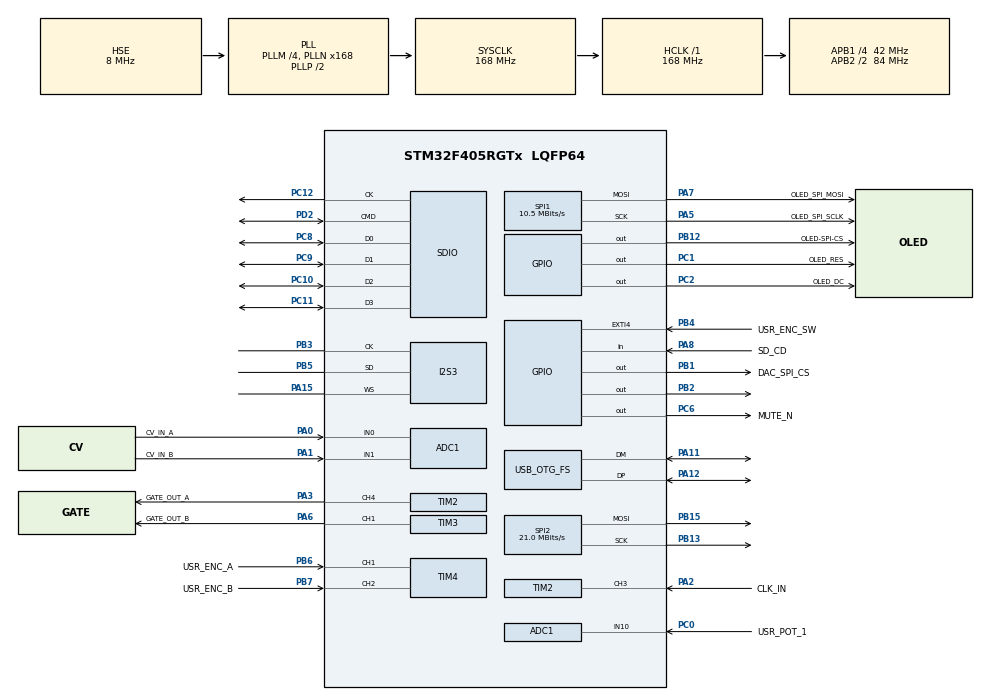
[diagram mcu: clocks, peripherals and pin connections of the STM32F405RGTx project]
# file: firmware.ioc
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ADC1.Channel-0\#ChannelRegularConversion=ADC_CHANNEL_0
ADC1.Channel-1\#ChannelRegularConversion=ADC_CHANNEL_1
ADC1.Channel-2\#ChannelRegularConversion=ADC_CHANNEL_10
ADC1.DMAContinuousRequests=ENABLE
ADC1.EOCSelection=ADC_EOC_SEQ_CONV
ADC1.ExternalTrigConv=ADC_EXTERNALTRIGCONV_T8_TRGO
ADC1.ExternalTrigConvEdge=ADC_EXTERNALTRIGCONVEDGE_RISING
ADC1.NbrOfConversion=3
ADC1.NbrOfConversionFlag=1
ADC1.Rank-0\#ChannelRegularConversion=1
ADC1.Rank-1\#ChannelRegularConversion=2
ADC1.Rank-2\#ChannelRegularConversion=3
ADC1.SamplingTime-0\#ChannelRegularConversion=ADC_SAMPLETIME_56CYCLES
ADC1.SamplingTime-1\#ChannelRegularConversion=ADC_SAMPLETIME_56CYCLES
ADC1.SamplingTime-2\#ChannelRegularConversion=ADC_SAMPLETIME_56CYCLES
ADC1.master=1
I2S3.AudioFreq=I2S_AUDIOFREQ_192K
I2S3.CPOL=I2S_CPOL_LOW
I2S3.DataFormat=I2S_DATAFORMAT_32B
I2S3.ErrorAudioFreq=-2.34 %
I2S3.FullDuplexMode=I2S_FULLDUPLEXMODE_DISABLE
I2S3.Instance=SPI$Index
I2S3.RealAudioFreq=187.5 KHz
I2S3.VirtualMode=I2S_MODE_MASTER
Mcu.Family=STM32F4
Mcu.Name=STM32F405RGTx
Mcu.Package=LQFP64
NVIC.EXTI4_IRQn=true\:0\:0\:false\:false\:true\:true\:true\:true
NVIC.OTG_FS_IRQn=true\:0\:0\:false\:false\:true\:false\:true\:true
NVIC.PriorityGroup=NVIC_PRIORITYGROUP_4
PA0-WKUP.GPIO_Label=CV_IN_A
PA0-WKUP.Signal=ADCx_IN0
PA1.GPIO_Label=CV_IN_B
PA1.Signal=ADCx_IN1
PA11.Mode=Device_Only
PA11.Signal=USB_OTG_FS_DM
PA12.Mode=Device_Only
PA12.Signal=USB_OTG_FS_DP
PA15.Mode=Half_Duplex_Master
PA15.Signal=I2S3_WS
PA2.GPIO_Label=CLK_IN
PA2.Signal=S_TIM2_CH3
PA3.GPIO_Label=GATE_OUT_A
PA3.Signal=S_TIM2_CH4
PA5.GPIO_Label=OLED_SPI_SCLK
PA5.Mode=TX_Only_Simplex_Unidirect_Master
PA5.Signal=SPI1_SCK
PA6.GPIO_Label=GATE_OUT_B
PA6.Signal=S_TIM3_CH1
PA7.GPIO_Label=OLED_SPI_MOSI
PA7.Mode=TX_Only_Simplex_Unidirect_Master
PA7.Signal=SPI1_MOSI
PA8.GPIO_Label=SD_CD
PA8.GPIO_PuPd=GPIO_PULLUP
PA8.Signal=GPIO_Input
PB1.GPIO_Label=DAC_SPI_CS
PB1.PinState=GPIO_PIN_SET
PB1.Signal=GPIO_Output
PB12.GPIO_Label=OLED-SPI-CS
PB12.GPIO_Speed=GPIO_SPEED_FREQ_HIGH
PB12.PinState=GPIO_PIN_SET
PB12.Signal=GPIO_Output
PB13.Mode=TX_Only_Simplex_Unidirect_Master
PB13.Signal=SPI2_SCK
PB15.Mode=TX_Only_Simplex_Unidirect_Master
PB15.Signal=SPI2_MOSI
PB2.Signal=GPIO_Output
PB3.GPIO_Speed=GPIO_SPEED_FREQ_VERY_HIGH
PB3.Mode=Half_Duplex_Master
PB3.Signal=I2S3_CK
PB4.GPIO_Label=USR_ENC_SW
PB4.GPIO_ModeDefaultEXTI=GPIO_MODE_IT_FALLING
PB4.GPIO_PuPd=GPIO_PULLUP
PB4.Signal=GPXTI4
PB5.GPIO_Speed=GPIO_SPEED_FREQ_VERY_HIGH
PB5.Mode=Half_Duplex_Master
PB5.Signal=I2S3_SD
PB6.GPIO_Label=USR_ENC_A
PB6.GPIO_PuPd=GPIO_PULLUP
PB6.Signal=S_TIM4_CH1
PB7.GPIO_Label=USR_ENC_B
PB7.GPIO_PuPd=GPIO_PULLUP
PB7.Signal=S_TIM4_CH2
PC0.GPIO_Label=USR_POT_1
PC0.Signal=ADCx_IN10
PC1.GPIO_Label=OLED_RES
PC1.GPIO_PuPd=GPIO_NOPULL
PC1.GPIO_Speed=GPIO_SPEED_FREQ_HIGH
PC1.PinState=GPIO_PIN_SET
PC1.Signal=GPIO_Output
PC10.Mode=SD_4_bits_Wide_bus
PC10.Signal=SDIO_D2
PC11.Mode=SD_4_bits_Wide_bus
PC11.Signal=SDIO_D3
PC12.Mode=SD_4_bits_Wide_bus
PC12.Signal=SDIO_CK
PC2.GPIO_Label=OLED_DC
PC2.GPIO_Speed=GPIO_SPEED_FREQ_HIGH
PC2.PinState=GPIO_PIN_SET
PC2.Signal=GPIO_Output
PC6.GPIO_Label=MUTE_N
PC6.PinState=GPIO_PIN_SET
PC6.Signal=GPIO_Output
PC8.Mode=SD_4_bits_Wide_bus
PC8.Signal=SDIO_D0
PC9.Mode=SD_4_bits_Wide_bus
PC9.Signal=SDIO_D1
PD2.Mode=SD_4_bits_Wide_bus
PD2.Signal=SDIO_CMD
PH0-OSC_IN.Mode=HSE-External-Oscillator
PH0-OSC_IN.Signal=RCC_OSC_IN
PH1-OSC_OUT.Mode=HSE-External-Oscillator
PH1-OSC_OUT.Signal=RCC_OSC_OUT
ProjectManager.HeapSize=0x200
ProjectManager.StackSize=0x400
ProjectManager.TargetToolchain=CMake
RCC.48MHZClocksFreq_Value=48000000
RCC.AHBFreq_Value=168000000
RCC.APB1CLKDivider=RCC_HCLK_DIV4
RCC.APB1Freq_Value=42000000
RCC.APB1TimFreq_Value=84000000
RCC.APB2CLKDivider=RCC_HCLK_DIV2
RCC.APB2Freq_Value=84000000
RCC.APB2TimFreq_Value=168000000
RCC.CortexFreq_Value=168000000
RCC.HCLKFreq_Value=168000000
RCC.HSE_VALUE=8000000
RCC.HSI_VALUE=16000000
RCC.LSE_VALUE=32768
RCC.PLLM=4
RCC.PLLN=168
RCC.PLLQ=7
RCC.SYSCLKFreq_VALUE=168000000
RCC.SYSCLKSource=RCC_SYSCLKSOURCE_PLLCLK
RCC.VCOOutputFreq_Value=336000000
SH.ADCx_IN0.0=ADC1_IN0,IN0
SH.ADCx_IN1.0=ADC1_IN1,IN1
SH.ADCx_IN10.0=ADC1_IN10,IN10
SH.S_TIM2_CH3.0=TIM2_CH3,Input_Capture3_from_TI3
SH.S_TIM2_CH4.0=TIM2_CH4,Output Compare4 CH4
SH.S_TIM3_CH1.0=TIM3_CH1,PWM Generation1 CH1
SH.S_TIM4_CH1.0=TIM4_CH1,Encoder_Interface
SH.S_TIM4_CH2.0=TIM4_CH2,Encoder_Interface
SPI1.BaudRatePrescaler=SPI_BAUDRATEPRESCALER_8
SPI1.CalculateBaudRate=10.5 MBits/s
SPI1.Direction=SPI_DIRECTION_2LINES
SPI1.Mode=SPI_MODE_MASTER
SPI1.VirtualType=VM_MASTER
SPI2.CLKPhase=SPI_PHASE_2EDGE
SPI2.CalculateBaudRate=21.0 MBits/s
SPI2.Direction=SPI_DIRECTION_2LINES
SPI2.Mode=SPI_MODE_MASTER
SPI2.VirtualType=VM_MASTER
TIM2.Channel-Input_Capture3_from_TI3=TIM_CHANNEL_3
TIM2.Channel-Output\ Compare4\ CH4=TIM_CHANNEL_4
TIM3.Channel-PWM\ Generation1\ CH1=TIM_CHANNEL_1
TIM4.EncoderMode=TIM_ENCODERMODE_TI12
TIM4.IC1Filter=4
TIM4.IC2Filter=4
USB_DEVICE.CLASS_NAME_FS=CDC
USB_DEVICE.VirtualMode-CDC_FS=Cdc
USB_DEVICE.VirtualModeFS=Cdc_FS
USB_OTG_FS.VirtualMode=Device_Only
VP_USB_DEVICE_VS_USB_DEVICE_CDC_FS.Mode=CDC_FS
board=custom

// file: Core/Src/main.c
/* USER CODE BEGIN Header */
/**
  ******************************************************************************
  * @file           : main.c
  * @brief          : Main program body
  ******************************************************************************
  * @attention
  *
  * Copyright (c) 2026 STMicroelectronics.
  * All rights reserved.
  *
  * This software is licensed under terms that can be found in the LICENSE file
  * in the root directory of this software component.
  * If no LICENSE file comes with this software, it is provided AS-IS.
  *
  ******************************************************************************
  */
/* USER CODE END Header */
#include "main.h"
#include "usb_device.h"

/* USER CODE BEGIN Includes */
#include <stdio.h>
#include <math.h>
#include "usbd_cdc_if.h"
#include "DEV_Config.h"
#include "OLED_1in5.h"
#include "GUI_Paint.h"
#include "encoder.h"
#include "app.h"
#include "boot.h"
#include "audio.h"
#include "cv_out.h"
#include "gate_out.h"
#include "analog_in.h"
#include "clock_in.h"
#include "sd_fs.h"
#include "wt_osc.h"
/* USER CODE END Includes */

ADC_HandleTypeDef hadc1;

I2S_HandleTypeDef hi2s3;
DMA_HandleTypeDef hdma_spi3_tx;

SD_HandleTypeDef hsd;

SPI_HandleTypeDef hspi1;
SPI_HandleTypeDef hspi2;

TIM_HandleTypeDef htim2;
TIM_HandleTypeDef htim3;
TIM_HandleTypeDef htim4;

/* USER CODE BEGIN PV */
DMA_HandleTypeDef hdma_spi1_tx;   /* OLED frame blit: SPI1 TX on DMA2 Stream3 */
/* USER CODE END PV */

void SystemClock_Config(void);
static void MX_GPIO_Init(void);
static void MX_DMA_Init(void);
static void MX_SPI1_Init(void);
static void MX_TIM4_Init(void);
static void MX_I2S3_Init(void);
static void MX_SDIO_SD_Init(void);
static void MX_ADC1_Init(void);
static void MX_SPI2_Init(void);
static void MX_TIM2_Init(void);
static void MX_TIM3_Init(void);

/* USER CODE BEGIN 0 */
extern USBD_HandleTypeDef hUsbDeviceFS;

int _write(int file, char *ptr, int len)
{
    (void)file;
#if USB_SERIAL_DEBUG
    /* USB is the CDC console. No host connected? Drop the output — without this
     * the module would stall ~20 ms per printf when run standalone (CDC reports
     * busy / NULL handle until enumerated). printf becomes a harmless no-op. */
    if (hUsbDeviceFS.dev_state != USBD_STATE_CONFIGURED)
        return len;
    /* CDC_Transmit_FS drops the buffer (returns USBD_BUSY) while a previous
     * packet is still in flight, so back-to-back printf lines would be lost.
     * Wait briefly for the IN endpoint to free up; bound the wait so we never
     * block long even if the host stops draining the port. */
    uint32_t start = HAL_GetTick();
    while (CDC_Transmit_FS((uint8_t*)ptr, (uint16_t)len) == USBD_BUSY) {
        if ((HAL_GetTick() - start) >= 20U) break;
    }
#else
    /* USB is the MIDI device — route printf to SWO/ITM (debugger trace). Harmless
     * (the byte is dropped) when no SWV probe is attached. See usb-midi.md §3. */
    for (int i = 0; i < len; i++)
        (void)ITM_SendChar((uint32_t)(uint8_t)ptr[i]);
#endif /* USB_SERIAL_DEBUG */
    return len;
}
/* ---- timing diagnostics --------------------------------------------------
 * Measures, over a 2 s window: main-loop pass count + worst gap between passes
 * (DWT cycle counter, µs), worst render+blit duration, and arp inter-step
 * intervals (ms). One 'diag:' line per window so the printf itself (which can
 * stall ~20 ms per line when the CDC port isn't being drained) doesn't skew
 * what it measures — though such a stall WILL show up in the next window's
 * loop max. */
#define DIAG_PERIOD_MS 2000u

static struct {
  uint32_t loop_n, loop_max_cyc, last_cyc;
  uint8_t  have_last;
  uint32_t rend_n, rend_max_cyc, disp_max_cyc;
  uint32_t arp_n, arp_last_ms, arp_min_ms, arp_max_ms;
  uint32_t next_report;
  uint32_t adc_last;
} s_diag = { .arp_min_ms = 0xFFFFFFFFu };

static void diag_init(void)
{
  CoreDebug->DEMCR |= CoreDebug_DEMCR_TRCENA_Msk;
  DWT->CYCCNT = 0;
  DWT->CTRL |= DWT_CTRL_CYCCNTENA_Msk;
  s_diag.next_report = HAL_GetTick() + DIAG_PERIOD_MS;
  s_diag.adc_last = analog_in_scan_count();
}

void diag_arp_step(void)
{
  uint32_t now = HAL_GetTick();
  if (s_diag.arp_n++) {
    uint32_t dt = now - s_diag.arp_last_ms;
    if (dt < s_diag.arp_min_ms) s_diag.arp_min_ms = dt;
    if (dt > s_diag.arp_max_ms) s_diag.arp_max_ms = dt;
  }
  s_diag.arp_last_ms = now;
}

/* Call once per loop pass; prints + resets the window when due. */
static void diag_loop_pass(uint32_t now_ms, uint32_t rend_cyc, uint32_t disp_cyc)
{
  uint32_t cyc = DWT->CYCCNT;
  if (s_diag.have_last) {
    uint32_t d = cyc - s_diag.last_cyc;
    if (d > s_diag.loop_max_cyc) s_diag.loop_max_cyc = d;
  }
  s_diag.last_cyc = cyc;
  s_diag.have_last = 1;
  s_diag.loop_n++;
  if (rend_cyc) s_diag.rend_n++;
  if (rend_cyc > s_diag.rend_max_cyc) s_diag.rend_max_cyc = rend_cyc;
  if (disp_cyc > s_diag.disp_max_cyc) s_diag.disp_max_cyc = disp_cyc;

  if ((int32_t)(now_ms - s_diag.next_report) >= 0) {
    uint32_t cyc_per_us = SystemCoreClock / 1000000u;
    uint32_t adc_now = analog_in_scan_count();
    printf("diag: loop n=%lu max=%luus | rend n=%lu max=%luus disp max=%luus dirty=%d | arp n=%lu dt=%lu..%lums | adc n=%lu\r\n",
           (unsigned long)s_diag.loop_n,
           (unsigned long)(s_diag.loop_max_cyc / cyc_per_us),
           (unsigned long)s_diag.rend_n,
           (unsigned long)(s_diag.rend_max_cyc / cyc_per_us),
           (unsigned long)(s_diag.disp_max_cyc / cyc_per_us),
           (int)app_dirty(),
           (unsigned long)s_diag.arp_n,
           (unsigned long)(s_diag.arp_n > 1 ? s_diag.arp_min_ms : 0),
           (unsigned long)(s_diag.arp_n > 1 ? s_diag.arp_max_ms : 0),
           (unsigned long)(adc_now - s_diag.adc_last));
    s_diag.adc_last = adc_now;
    s_diag.loop_n = 0;
    s_diag.loop_max_cyc = 0;
    s_diag.rend_n = 0;
    s_diag.rend_max_cyc = 0;
    s_diag.disp_max_cyc = 0;
    s_diag.arp_n = s_diag.arp_n ? 1u : 0u;   /* keep last step as the new baseline */
    s_diag.arp_min_ms = 0xFFFFFFFFu;
    s_diag.arp_max_ms = 0;
    s_diag.next_report = now_ms + DIAG_PERIOD_MS;
  }
}
/* USER CODE END 0 */

int main(void)
{

  /* MCU Configuration--------------------------------------------------------*/

  /* Reset of all peripherals, Initializes the Flash interface and the Systick. */
  HAL_Init();

  /* Configure the system clock */
  SystemClock_Config();

  /* Initialize all configured peripherals */
  MX_GPIO_Init();
  MX_DMA_Init();
  MX_USB_DEVICE_Init();
  MX_SPI1_Init();
  MX_TIM4_Init();
  MX_I2S3_Init();
  /* SD card detect is NC switch: LOW=no card, HIGH=card inserted */
  if (HAL_GPIO_ReadPin(SD_CD_GPIO_Port, SD_CD_Pin) == GPIO_PIN_SET) {
    MX_SDIO_SD_Init();
  }
  MX_ADC1_Init();
  MX_SPI2_Init();
  MX_TIM2_Init();
  MX_TIM3_Init();
  /* USER CODE BEGIN 2 */
  HAL_Delay(1000);
  printf("USB ready\r\n");

  /* Mount the SD card; the app loads/selects wavetables from it. */
  if (HAL_GPIO_ReadPin(SD_CD_GPIO_Port, SD_CD_Pin) == GPIO_PIN_SET) {
    if (sd_fs_mount()) sd_fs_dump_root();
  } else {
    printf("No SD card detected\r\n");
  }

  System_Init();
  OLED_1in5_Init();
  OLED_1in5_Clear();

  static UBYTE image[128 * 128 / 2];
  Paint_NewImage(image, 128, 128, 0, BLACK);
  Paint_SetScale(16);
  Paint_SelectImage(image);

  encoder_init();
  printf("Encoder initialized\r\n");
  printf("OLED initialized\r\n");

  /* Load SD data (folder list + default wavetable) NOW, while audio is still
   * off — SD reads here have no audio-DMA/render-IRQ contention. The user
   * expects silence during the boot splash anyway. */
  app_preload();

  /* Power-on starfield hyperdrive splash (5 s). */
  boot_splash(image, 5000);

  /* Bring up the signal-IO driver layer. audio_init starts the continuous
   * (muted) I2S stream so the PCM5102A clocks stay locked; cv_out/gate_out
   * settle to a safe zero state; analog_in/clock_in arm their inputs. */
  audio_init();
  cv_out_init();
  gate_out_init();
  analog_in_init();
  clock_in_init();

  /* Wavetable oscillator is the audio voice: install it on the render seam. */
  wt_osc_init();
  wt_osc_install();

  /* Boot into the menu; app_init points the oscillator at the preloaded
   * wavetable (silent until a note is gated on). */
  app_init();
  /* USER CODE END 2 */

  /* Infinite loop */
  /* USER CODE BEGIN WHILE */
  /* Display frame pacing. Logic (inputs, arp, gates) runs every pass — sub-ms
   * period — so step/gate timing is tight; drawing + the 8 KB SPI frame push
   * (the slow part) runs only every FRAME_MS. */
  #define FRAME_MS 33u
  uint32_t next_frame = HAL_GetTick();
  diag_init();
  while (1)
  {
    /* USER CODE END WHILE */

    /* USER CODE BEGIN 3 */
    uint32_t now = HAL_GetTick();

    /* Refresh inputs first so app_tick (arp external-clock stepping) sees the
     * freshest CLK-IN edge this pass. */
    clock_in_poll(now);

    app_tick();

    uint32_t rend_cyc = 0, disp_cyc = 0;
    if (app_dirty() && (int32_t)(now - next_frame) >= 0) {
      uint32_t t0 = DWT->CYCCNT;
      app_render();
      uint32_t t1 = DWT->CYCCNT;
      OLED_1in5_Display(image);
      disp_cyc = DWT->CYCCNT - t1;
      rend_cyc = t1 - t0;
      next_frame = now + FRAME_MS;
    }

    /* Apply gate timing after the app may have (re)started pulses this pass. */
    gate_out_service(now);

    diag_loop_pass(now, rend_cyc, disp_cyc);
  }
  /* USER CODE END 3 */
}

void SystemClock_Config(void)
{
  RCC_OscInitTypeDef RCC_OscInitStruct = {0};
  RCC_ClkInitTypeDef RCC_ClkInitStruct = {0};

  /** Configure the main internal regulator output voltage
  */
  __HAL_RCC_PWR_CLK_ENABLE();
  __HAL_PWR_VOLTAGESCALING_CONFIG(PWR_REGULATOR_VOLTAGE_SCALE1);

  /** Initializes the RCC Oscillators according to the specified parameters
  * in the RCC_OscInitTypeDef structure.
  */
  RCC_OscInitStruct.OscillatorType = RCC_OSCILLATORTYPE_HSE;
  RCC_OscInitStruct.HSEState = RCC_HSE_ON;
  RCC_OscInitStruct.PLL.PLLState = RCC_PLL_ON;
  RCC_OscInitStruct.PLL.PLLSource = RCC_PLLSOURCE_HSE;
  RCC_OscInitStruct.PLL.PLLM = 4;
  RCC_OscInitStruct.PLL.PLLN = 168;
  RCC_OscInitStruct.PLL.PLLP = RCC_PLLP_DIV2;
  RCC_OscInitStruct.PLL.PLLQ = 7;
  if (HAL_RCC_OscConfig(&RCC_OscInitStruct) != HAL_OK)
  {
    Error_Handler();
  }

  /** Initializes the CPU, AHB and APB buses clocks
  */
  RCC_ClkInitStruct.ClockType = RCC_CLOCKTYPE_HCLK|RCC_CLOCKTYPE_SYSCLK
                              |RCC_CLOCKTYPE_PCLK1|RCC_CLOCKTYPE_PCLK2;
  RCC_ClkInitStruct.SYSCLKSource = RCC_SYSCLKSOURCE_PLLCLK;
  RCC_ClkInitStruct.AHBCLKDivider = RCC_SYSCLK_DIV1;
  RCC_ClkInitStruct.APB1CLKDivider = RCC_HCLK_DIV4;
  RCC_ClkInitStruct.APB2CLKDivider = RCC_HCLK_DIV2;

  if (HAL_RCC_ClockConfig(&RCC_ClkInitStruct, FLASH_LATENCY_5) != HAL_OK)
  {
    Error_Handler();
  }
}

static void MX_ADC1_Init(void)
{

  ADC_ChannelConfTypeDef sConfig = {0};

  /** Configure the global features of the ADC (Clock, Resolution, Data Alignment and number of conversion)
  */
  hadc1.Instance = ADC1;
  hadc1.Init.ClockPrescaler = ADC_CLOCK_SYNC_PCLK_DIV4;
  hadc1.Init.Resolution = ADC_RESOLUTION_12B;
  /* TIM8 triggers at 1 kHz; DMA drains all three ranks without polling. */
  hadc1.Init.ScanConvMode = ENABLE;
  hadc1.Init.ContinuousConvMode = DISABLE;
  hadc1.Init.DiscontinuousConvMode = DISABLE;
  hadc1.Init.ExternalTrigConvEdge = ADC_EXTERNALTRIGCONVEDGE_RISING;
  hadc1.Init.ExternalTrigConv = ADC_EXTERNALTRIGCONV_T8_TRGO;
  hadc1.Init.DataAlign = ADC_DATAALIGN_RIGHT;
  hadc1.Init.NbrOfConversion = 3;
  hadc1.Init.DMAContinuousRequests = ENABLE;
  hadc1.Init.EOCSelection = ADC_EOC_SEQ_CONV;
  if (HAL_ADC_Init(&hadc1) != HAL_OK)
  {
    Error_Handler();
  }

  /** Configure for the selected ADC regular channel its corresponding rank in the sequencer and its sample time.
  */
  sConfig.Channel = ADC_CHANNEL_0;
  sConfig.Rank = 1;
  sConfig.SamplingTime = ADC_SAMPLETIME_56CYCLES;
  if (HAL_ADC_ConfigChannel(&hadc1, &sConfig) != HAL_OK)
  {
    Error_Handler();
  }

  /** Configure for the selected ADC regular channel its corresponding rank in the sequencer and its sample time.
  */
  sConfig.Channel = ADC_CHANNEL_1;
  sConfig.Rank = 2;
  if (HAL_ADC_ConfigChannel(&hadc1, &sConfig) != HAL_OK)
  {
    Error_Handler();
  }

  /** Configure for the selected ADC regular channel its corresponding rank in the sequencer and its sample time.
  */
  sConfig.Channel = ADC_CHANNEL_10;
  sConfig.Rank = 3;
  if (HAL_ADC_ConfigChannel(&hadc1, &sConfig) != HAL_OK)
  {
    Error_Handler();
  }

}

static void MX_DMA_Init(void)
{
  /* DMA controller clock enable */
  __HAL_RCC_DMA1_CLK_ENABLE();

  /* DMA interrupt init: SPI3_TX = DMA1_Stream5. Low priority so the USB CDC
   * and SysTick IRQs always preempt the (sinf-heavy) audio refill callback. */
  HAL_NVIC_SetPriority(DMA1_Stream5_IRQn, 8, 0);
  HAL_NVIC_EnableIRQ(DMA1_Stream5_IRQn);
}

static void MX_I2S3_Init(void)
{

  hi2s3.Instance = SPI3;
  hi2s3.Init.Mode = I2S_MODE_MASTER_TX;
  hi2s3.Init.Standard = I2S_STANDARD_PHILIPS;
  hi2s3.Init.DataFormat = I2S_DATAFORMAT_32B;
  hi2s3.Init.MCLKOutput = I2S_MCLKOUTPUT_DISABLE;
  hi2s3.Init.AudioFreq = I2S_AUDIOFREQ_192K;
  hi2s3.Init.CPOL = I2S_CPOL_LOW;
  hi2s3.Init.ClockSource = I2S_CLOCK_PLL;
  hi2s3.Init.FullDuplexMode = I2S_FULLDUPLEXMODE_DISABLE;
  if (HAL_I2S_Init(&hi2s3) != HAL_OK)
  {
    Error_Handler();
  }

}

static void MX_SDIO_SD_Init(void)
{

  hsd.Instance = SDIO;
  hsd.Init.ClockEdge = SDIO_CLOCK_EDGE_RISING;
  hsd.Init.ClockBypass = SDIO_CLOCK_BYPASS_DISABLE;
  hsd.Init.ClockPowerSave = SDIO_CLOCK_POWER_SAVE_DISABLE;
  hsd.Init.BusWide = SDIO_BUS_WIDE_1B;
  hsd.Init.HardwareFlowControl = SDIO_HARDWARE_FLOW_CONTROL_DISABLE;
  /* SDIO_CK = 48 MHz / (ClockDiv + 2). ClockDiv=8 -> 4.8 MHz. We read blocks
   * in polling mode (no SDIO DMA wired up); at the full 24 MHz the -O0 HAL
   * read loop cannot drain the 16-word FIFO in time and RX-overruns
   * (HAL_SD_ERROR_RX_OVERRUN). Samples are loaded to RAM once (not streamed),
   * so the slower clock costs nothing. */
  hsd.Init.ClockDiv = 8;
  if (HAL_SD_Init(&hsd) != HAL_OK)
  {
    Error_Handler();
  }
  if (HAL_SD_ConfigWideBusOperation(&hsd, SDIO_BUS_WIDE_4B) != HAL_OK)
  {
    Error_Handler();
  }

}

static void MX_SPI1_Init(void)
{

  /* SPI1 parameter configuration*/
  hspi1.Instance = SPI1;
  hspi1.Init.Mode = SPI_MODE_MASTER;
  hspi1.Init.Direction = SPI_DIRECTION_2LINES;
  hspi1.Init.DataSize = SPI_DATASIZE_8BIT;
  hspi1.Init.CLKPolarity = SPI_POLARITY_LOW;
  hspi1.Init.CLKPhase = SPI_PHASE_1EDGE;
  hspi1.Init.NSS = SPI_NSS_SOFT;
  hspi1.Init.BaudRatePrescaler = SPI_BAUDRATEPRESCALER_8;
  hspi1.Init.FirstBit = SPI_FIRSTBIT_MSB;
  hspi1.Init.TIMode = SPI_TIMODE_DISABLE;
  hspi1.Init.CRCCalculation = SPI_CRCCALCULATION_DISABLE;
  hspi1.Init.CRCPolynomial = 10;
  if (HAL_SPI_Init(&hspi1) != HAL_OK)
  {
    Error_Handler();
  }

}

static void MX_SPI2_Init(void)
{

  /* SPI2 parameter configuration*/
  hspi2.Instance = SPI2;
  hspi2.Init.Mode = SPI_MODE_MASTER;
  hspi2.Init.Direction = SPI_DIRECTION_2LINES;
  hspi2.Init.DataSize = SPI_DATASIZE_8BIT;
  hspi2.Init.CLKPolarity = SPI_POLARITY_LOW;
  hspi2.Init.CLKPhase = SPI_PHASE_2EDGE;
  hspi2.Init.NSS = SPI_NSS_SOFT;
  hspi2.Init.BaudRatePrescaler = SPI_BAUDRATEPRESCALER_2;
  hspi2.Init.FirstBit = SPI_FIRSTBIT_MSB;
  hspi2.Init.TIMode = SPI_TIMODE_DISABLE;
  hspi2.Init.CRCCalculation = SPI_CRCCALCULATION_DISABLE;
  hspi2.Init.CRCPolynomial = 10;
  if (HAL_SPI_Init(&hspi2) != HAL_OK)
  {
    Error_Handler();
  }

}

static void MX_TIM2_Init(void)
{

  TIM_MasterConfigTypeDef sMasterConfig = {0};
  TIM_IC_InitTypeDef sConfigIC = {0};
  TIM_OC_InitTypeDef sConfigOC = {0};

  htim2.Instance = TIM2;
  htim2.Init.Prescaler = 0;
  htim2.Init.CounterMode = TIM_COUNTERMODE_UP;
  htim2.Init.Period = 4294967295;
  htim2.Init.ClockDivision = TIM_CLOCKDIVISION_DIV1;
  htim2.Init.AutoReloadPreload = TIM_AUTORELOAD_PRELOAD_DISABLE;
  if (HAL_TIM_IC_Init(&htim2) != HAL_OK)
  {
    Error_Handler();
  }
  if (HAL_TIM_OC_Init(&htim2) != HAL_OK)
  {
    Error_Handler();
  }
  sMasterConfig.MasterOutputTrigger = TIM_TRGO_RESET;
  sMasterConfig.MasterSlaveMode = TIM_MASTERSLAVEMODE_DISABLE;
  if (HAL_TIMEx_MasterConfigSynchronization(&htim2, &sMasterConfig) != HAL_OK)
  {
    Error_Handler();
  }
  sConfigIC.ICPolarity = TIM_INPUTCHANNELPOLARITY_RISING;
  sConfigIC.ICSelection = TIM_ICSELECTION_DIRECTTI;
  sConfigIC.ICPrescaler = TIM_ICPSC_DIV1;
  sConfigIC.ICFilter = 0;
  if (HAL_TIM_IC_ConfigChannel(&htim2, &sConfigIC, TIM_CHANNEL_3) != HAL_OK)
  {
    Error_Handler();
  }
  sConfigOC.OCMode = TIM_OCMODE_TIMING;
  sConfigOC.Pulse = 0;
  sConfigOC.OCPolarity = TIM_OCPOLARITY_HIGH;
  sConfigOC.OCFastMode = TIM_OCFAST_DISABLE;
  if (HAL_TIM_OC_ConfigChannel(&htim2, &sConfigOC, TIM_CHANNEL_4) != HAL_OK)
  {
    Error_Handler();
  }
  HAL_TIM_MspPostInit(&htim2);

}

static void MX_TIM3_Init(void)
{

  TIM_MasterConfigTypeDef sMasterConfig = {0};
  TIM_OC_InitTypeDef sConfigOC = {0};

  htim3.Instance = TIM3;
  htim3.Init.Prescaler = 0;
  htim3.Init.CounterMode = TIM_COUNTERMODE_UP;
  htim3.Init.Period = 65535;
  htim3.Init.ClockDivision = TIM_CLOCKDIVISION_DIV1;
  htim3.Init.AutoReloadPreload = TIM_AUTORELOAD_PRELOAD_DISABLE;
  if (HAL_TIM_PWM_Init(&htim3) != HAL_OK)
  {
    Error_Handler();
  }
  sMasterConfig.MasterOutputTrigger = TIM_TRGO_RESET;
  sMasterConfig.MasterSlaveMode = TIM_MASTERSLAVEMODE_DISABLE;
  if (HAL_TIMEx_MasterConfigSynchronization(&htim3, &sMasterConfig) != HAL_OK)
  {
    Error_Handler();
  }
  sConfigOC.OCMode = TIM_OCMODE_PWM1;
  sConfigOC.Pulse = 0;
  sConfigOC.OCPolarity = TIM_OCPOLARITY_HIGH;
  sConfigOC.OCFastMode = TIM_OCFAST_DISABLE;
  if (HAL_TIM_PWM_ConfigChannel(&htim3, &sConfigOC, TIM_CHANNEL_1) != HAL_OK)
  {
    Error_Handler();
  }
  HAL_TIM_MspPostInit(&htim3);

}

static void MX_TIM4_Init(void)
{

  TIM_Encoder_InitTypeDef sConfig = {0};
  TIM_MasterConfigTypeDef sMasterConfig = {0};

  htim4.Instance = TIM4;
  htim4.Init.Prescaler = 0;
  htim4.Init.CounterMode = TIM_COUNTERMODE_UP;
  htim4.Init.Period = 65535;
  htim4.Init.ClockDivision = TIM_CLOCKDIVISION_DIV1;
  htim4.Init.AutoReloadPreload = TIM_AUTORELOAD_PRELOAD_DISABLE;
  sConfig.EncoderMode = TIM_ENCODERMODE_TI12;
  sConfig.IC1Polarity = TIM_ICPOLARITY_RISING;
  sConfig.IC1Selection = TIM_ICSELECTION_DIRECTTI;
  sConfig.IC1Prescaler = TIM_ICPSC_DIV1;
  sConfig.IC1Filter = 4;
  sConfig.IC2Polarity = TIM_ICPOLARITY_RISING;
  sConfig.IC2Selection = TIM_ICSELECTION_DIRECTTI;
  sConfig.IC2Prescaler = TIM_ICPSC_DIV1;
  sConfig.IC2Filter = 4;
  if (HAL_TIM_Encoder_Init(&htim4, &sConfig) != HAL_OK)
  {
    Error_Handler();
  }
  sMasterConfig.MasterOutputTrigger = TIM_TRGO_RESET;
  sMasterConfig.MasterSlaveMode = TIM_MASTERSLAVEMODE_DISABLE;
  if (HAL_TIMEx_MasterConfigSynchronization(&htim4, &sMasterConfig) != HAL_OK)
  {
    Error_Handler();
  }

}

static void MX_GPIO_Init(void)
{
  GPIO_InitTypeDef GPIO_InitStruct = {0};

  /* GPIO Ports Clock Enable */
  __HAL_RCC_GPIOH_CLK_ENABLE();
  __HAL_RCC_GPIOC_CLK_ENABLE();
  __HAL_RCC_GPIOA_CLK_ENABLE();
  __HAL_RCC_GPIOB_CLK_ENABLE();
  __HAL_RCC_GPIOD_CLK_ENABLE();

  /*Configure GPIO pin Output Level */
  HAL_GPIO_WritePin(GPIOC, OLED_RES_Pin|OLED_DC_Pin|MUTE_N_Pin, GPIO_PIN_SET);

  /*Configure GPIO pin Output Level */
  HAL_GPIO_WritePin(GPIOB, DAC_SPI_CS_Pin|OLED_SPI_CS_Pin, GPIO_PIN_SET);

  /*Configure GPIO pin Output Level */
  HAL_GPIO_WritePin(GPIOB, GPIO_PIN_2, GPIO_PIN_RESET);

  /*Configure GPIO pins : OLED_RES_Pin OLED_DC_Pin */
  GPIO_InitStruct.Pin = OLED_RES_Pin|OLED_DC_Pin;
  GPIO_InitStruct.Mode = GPIO_MODE_OUTPUT_PP;
  GPIO_InitStruct.Pull = GPIO_NOPULL;
  GPIO_InitStruct.Speed = GPIO_SPEED_FREQ_HIGH;
  HAL_GPIO_Init(GPIOC, &GPIO_InitStruct);

  /*Configure GPIO pins : DAC_SPI_CS_Pin PB2 */
  GPIO_InitStruct.Pin = DAC_SPI_CS_Pin|GPIO_PIN_2;
  GPIO_InitStruct.Mode = GPIO_MODE_OUTPUT_PP;
  GPIO_InitStruct.Pull = GPIO_NOPULL;
  GPIO_InitStruct.Speed = GPIO_SPEED_FREQ_LOW;
  HAL_GPIO_Init(GPIOB, &GPIO_InitStruct);

  /*Configure GPIO pin : OLED_SPI_CS_Pin */
  GPIO_InitStruct.Pin = OLED_SPI_CS_Pin;
  GPIO_InitStruct.Mode = GPIO_MODE_OUTPUT_PP;
  GPIO_InitStruct.Pull = GPIO_NOPULL;
  GPIO_InitStruct.Speed = GPIO_SPEED_FREQ_HIGH;
  HAL_GPIO_Init(OLED_SPI_CS_GPIO_Port, &GPIO_InitStruct);

  /*Configure GPIO pin : MUTE_N_Pin */
  GPIO_InitStruct.Pin = MUTE_N_Pin;
  GPIO_InitStruct.Mode = GPIO_MODE_OUTPUT_PP;
  GPIO_InitStruct.Pull = GPIO_NOPULL;
  GPIO_InitStruct.Speed = GPIO_SPEED_FREQ_LOW;
  HAL_GPIO_Init(MUTE_N_GPIO_Port, &GPIO_InitStruct);

  /*Configure GPIO pin : SD_CD_Pin */
  GPIO_InitStruct.Pin = SD_CD_Pin;
  GPIO_InitStruct.Mode = GPIO_MODE_INPUT;
  GPIO_InitStruct.Pull = GPIO_PULLUP;
  HAL_GPIO_Init(SD_CD_GPIO_Port, &GPIO_InitStruct);

  /*Configure GPIO pin : USR_ENC_SW_Pin */
  GPIO_InitStruct.Pin = USR_ENC_SW_Pin;
  GPIO_InitStruct.Mode = GPIO_MODE_IT_FALLING;
  GPIO_InitStruct.Pull = GPIO_PULLUP;
  HAL_GPIO_Init(USR_ENC_SW_GPIO_Port, &GPIO_InitStruct);

  /* EXTI interrupt init*/
  HAL_NVIC_SetPriority(EXTI4_IRQn, 0, 0);
  HAL_NVIC_EnableIRQ(EXTI4_IRQn);

}

/* USER CODE BEGIN 4 */
void HAL_GPIO_EXTI_Callback(uint16_t GPIO_Pin)
{
  if (GPIO_Pin == USR_ENC_SW_Pin) {
    encoder_button_isr();
  }
}
/* USER CODE END 4 */

void Error_Handler(void)
{
  __disable_irq();
  while (1)
  {
  }
}
